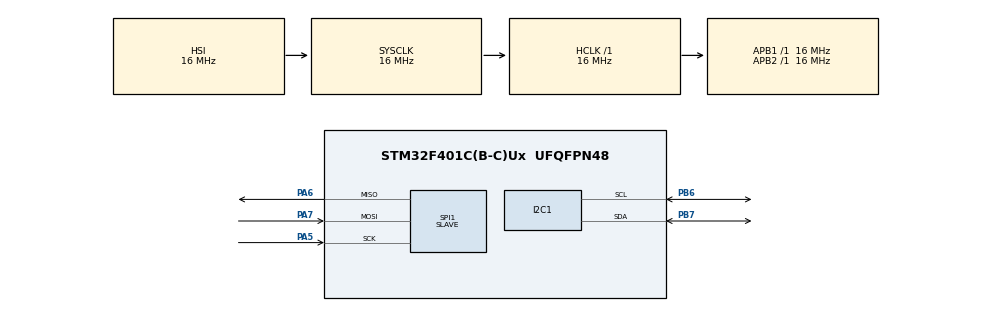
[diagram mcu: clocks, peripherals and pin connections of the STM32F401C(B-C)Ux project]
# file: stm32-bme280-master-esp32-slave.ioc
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Dma.Request0=SPI1_TX
Dma.SPI1_TX.0.Direction=DMA_MEMORY_TO_PERIPH
Dma.SPI1_TX.0.FIFOMode=DMA_FIFOMODE_DISABLE
Dma.SPI1_TX.0.Instance=DMA2_Stream3
Dma.SPI1_TX.0.MemDataAlignment=DMA_MDATAALIGN_BYTE
Dma.SPI1_TX.0.MemInc=DMA_MINC_ENABLE
Dma.SPI1_TX.0.Mode=DMA_CIRCULAR
Dma.SPI1_TX.0.PeriphDataAlignment=DMA_PDATAALIGN_BYTE
Dma.SPI1_TX.0.PeriphInc=DMA_PINC_DISABLE
Dma.SPI1_TX.0.Priority=DMA_PRIORITY_LOW
Mcu.Family=STM32F4
Mcu.Name=STM32F401C(B-C)Ux
Mcu.Package=UFQFPN48
NVIC.DMA2_Stream3_IRQn=true\:0\:0\:false\:false\:true\:false\:true\:true
NVIC.PriorityGroup=NVIC_PRIORITYGROUP_4
PA5.Mode=Full_Duplex_Slave
PA5.Signal=SPI1_SCK
PA6.Mode=Full_Duplex_Slave
PA6.Signal=SPI1_MISO
PA7.Mode=Full_Duplex_Slave
PA7.Signal=SPI1_MOSI
PB6.Mode=I2C
PB6.Signal=I2C1_SCL
PB7.Mode=I2C
PB7.Signal=I2C1_SDA
PH0\ -\ OSC_IN.Mode=HSE-External-Oscillator
PH0\ -\ OSC_IN.Signal=RCC_OSC_IN
PH1\ -\ OSC_OUT.Mode=HSE-External-Oscillator
PH1\ -\ OSC_OUT.Signal=RCC_OSC_OUT
ProjectManager.HeapSize=0x200
ProjectManager.StackSize=0x400
ProjectManager.TargetToolchain=STM32CubeIDE
RCC.AHBFreq_Value=16000000
RCC.APB1Freq_Value=16000000
RCC.APB2Freq_Value=16000000
RCC.CortexFreq_Value=16000000
RCC.HSE_VALUE=25000000
RCC.HSI_VALUE=16000000
RCC.LSE_VALUE=32768
RCC.SYSCLKFreq_VALUE=16000000
RCC.VCOOutputFreq_Value=192000000
SPI1.Direction=SPI_DIRECTION_2LINES
SPI1.Mode=SPI_MODE_SLAVE
SPI1.VirtualType=VM_SLAVE
board=custom

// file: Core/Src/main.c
/* USER CODE BEGIN Header */
/**
  ******************************************************************************
  * @file           : main.c
  * @brief          : Main program body
  ******************************************************************************
  * @attention
  *
  * Copyright (c) 2026 STMicroelectronics.
  * All rights reserved.
  *
  * This software is licensed under terms that can be found in the LICENSE file
  * in the root directory of this software component.
  * If no LICENSE file comes with this software, it is provided AS-IS.
  *
  ******************************************************************************
  */
/* USER CODE END Header */
#include "main.h"

/* USER CODE BEGIN Includes */
#include "bme280.h"
/* USER CODE END Includes */

/* USER CODE BEGIN PTD */
typedef struct __attribute__((packed)) {
    float temperature;
    float pressure;
    float humidity;
} bme280_packet_t;
/* USER CODE END PTD */

I2C_HandleTypeDef hi2c1;

SPI_HandleTypeDef hspi1;
DMA_HandleTypeDef hdma_spi1_tx;

/* USER CODE BEGIN PV */
bme280_packet_t sensor_data;
struct bme280_dev dev;
uint8_t dev_addr = BME280_I2C_ADDR_PRIM;
/* USER CODE END PV */

void SystemClock_Config(void);
static void MX_GPIO_Init(void);
static void MX_DMA_Init(void);
static void MX_I2C1_Init(void);
static void MX_SPI1_Init(void);

/* USER CODE BEGIN 0 */
void bme280_delay_us(uint32_t period, void *intf_ptr) {
    // Convert microseconds to milliseconds for HAL_Delay (minimum 1ms)
    uint32_t ms = period / 1000;
    if (ms == 0) {
        ms = 1;
    }
    HAL_Delay(ms);
}

int8_t bme280_i2c_read(uint8_t reg_addr, uint8_t *data, uint32_t len, void *intf_ptr) {
    uint8_t addr = *(uint8_t*)intf_ptr;
    if (HAL_I2C_Mem_Read(&hi2c1, addr << 1, reg_addr, I2C_MEMADD_SIZE_8BIT, data, len, 100) == HAL_OK) {
        return BME280_OK;
    }
    return BME280_E_COMM_FAIL;
}

int8_t bme280_i2c_write(uint8_t reg_addr, const uint8_t *data, uint32_t len, void *intf_ptr) {
    uint8_t addr = *(uint8_t*)intf_ptr;
    if (HAL_I2C_Mem_Write(&hi2c1, addr << 1, reg_addr, I2C_MEMADD_SIZE_8BIT, (uint8_t*)data, len, 100) == HAL_OK) {
        return BME280_OK;
    }
    return BME280_E_COMM_FAIL;
}
/* USER CODE END 0 */

int main(void)
{

  /* MCU Configuration--------------------------------------------------------*/

  /* Reset of all peripherals, Initializes the Flash interface and the Systick. */
  HAL_Init();

  /* Configure the system clock */
  SystemClock_Config();

  /* Initialize all configured peripherals */
  MX_GPIO_Init();
  MX_DMA_Init();
  MX_I2C1_Init();
  MX_SPI1_Init();
  /* USER CODE BEGIN 2 */
  dev.intf = BME280_I2C_INTF;
  dev.read = bme280_i2c_read;
  dev.write = bme280_i2c_write;
  dev.delay_us = bme280_delay_us;
  dev.intf_ptr = &dev_addr;

  int8_t rslt = bme280_init(&dev);
  if (rslt == BME280_OK) {
    struct bme280_settings settings;

    settings.osr_h = BME280_OVERSAMPLING_1X;
    settings.osr_p = BME280_OVERSAMPLING_16X;
    settings.osr_t = BME280_OVERSAMPLING_2X;
    settings.filter = BME280_FILTER_COEFF_16;

    bme280_set_sensor_settings(BME280_SEL_ALL_SETTINGS, &settings, &dev);
    bme280_set_sensor_mode(BME280_POWERMODE_NORMAL, &dev);
  }

  HAL_SPI_Transmit_DMA(&hspi1, (uint8_t*)&sensor_data, sizeof(sensor_data));
  /* USER CODE END 2 */

  /* Infinite loop */
  while (1)
  {

    /* USER CODE BEGIN 3 */
	struct bme280_data comp_data;
	rslt = bme280_get_sensor_data(BME280_ALL, &comp_data, &dev);
	if (rslt == BME280_OK) {
	  sensor_data.temperature = comp_data.temperature;
	  sensor_data.pressure    = comp_data.pressure / 100.0f;
	  sensor_data.humidity    = comp_data.humidity;
	}

	HAL_Delay(1000);
  }
  /* USER CODE END 3 */
}

void SystemClock_Config(void)
{
  RCC_OscInitTypeDef RCC_OscInitStruct = {0};
  RCC_ClkInitTypeDef RCC_ClkInitStruct = {0};

  /** Configure the main internal regulator output voltage
  */
  __HAL_RCC_PWR_CLK_ENABLE();
  __HAL_PWR_VOLTAGESCALING_CONFIG(PWR_REGULATOR_VOLTAGE_SCALE2);

  /** Initializes the RCC Oscillators according to the specified parameters
  * in the RCC_OscInitTypeDef structure.
  */
  RCC_OscInitStruct.OscillatorType = RCC_OSCILLATORTYPE_HSI;
  RCC_OscInitStruct.HSIState = RCC_HSI_ON;
  RCC_OscInitStruct.HSICalibrationValue = RCC_HSICALIBRATION_DEFAULT;
  RCC_OscInitStruct.PLL.PLLState = RCC_PLL_NONE;
  if (HAL_RCC_OscConfig(&RCC_OscInitStruct) != HAL_OK)
  {
    Error_Handler();
  }

  /** Initializes the CPU, AHB and APB buses clocks
  */
  RCC_ClkInitStruct.ClockType = RCC_CLOCKTYPE_HCLK|RCC_CLOCKTYPE_SYSCLK
                              |RCC_CLOCKTYPE_PCLK1|RCC_CLOCKTYPE_PCLK2;
  RCC_ClkInitStruct.SYSCLKSource = RCC_SYSCLKSOURCE_HSI;
  RCC_ClkInitStruct.AHBCLKDivider = RCC_SYSCLK_DIV1;
  RCC_ClkInitStruct.APB1CLKDivider = RCC_HCLK_DIV1;
  RCC_ClkInitStruct.APB2CLKDivider = RCC_HCLK_DIV1;

  if (HAL_RCC_ClockConfig(&RCC_ClkInitStruct, FLASH_LATENCY_0) != HAL_OK)
  {
    Error_Handler();
  }
}

static void MX_I2C1_Init(void)
{

  hi2c1.Instance = I2C1;
  hi2c1.Init.ClockSpeed = 100000;
  hi2c1.Init.DutyCycle = I2C_DUTYCYCLE_2;
  hi2c1.Init.OwnAddress1 = 0;
  hi2c1.Init.AddressingMode = I2C_ADDRESSINGMODE_7BIT;
  hi2c1.Init.DualAddressMode = I2C_DUALADDRESS_DISABLE;
  hi2c1.Init.OwnAddress2 = 0;
  hi2c1.Init.GeneralCallMode = I2C_GENERALCALL_DISABLE;
  hi2c1.Init.NoStretchMode = I2C_NOSTRETCH_DISABLE;
  if (HAL_I2C_Init(&hi2c1) != HAL_OK)
  {
    Error_Handler();
  }

}

static void MX_SPI1_Init(void)
{

  /* SPI1 parameter configuration*/
  hspi1.Instance = SPI1;
  hspi1.Init.Mode = SPI_MODE_SLAVE;
  hspi1.Init.Direction = SPI_DIRECTION_2LINES;
  hspi1.Init.DataSize = SPI_DATASIZE_8BIT;
  hspi1.Init.CLKPolarity = SPI_POLARITY_LOW;
  hspi1.Init.CLKPhase = SPI_PHASE_1EDGE;
  hspi1.Init.NSS = SPI_NSS_SOFT;
  hspi1.Init.FirstBit = SPI_FIRSTBIT_MSB;
  hspi1.Init.TIMode = SPI_TIMODE_DISABLE;
  hspi1.Init.CRCCalculation = SPI_CRCCALCULATION_DISABLE;
  hspi1.Init.CRCPolynomial = 10;
  if (HAL_SPI_Init(&hspi1) != HAL_OK)
  {
    Error_Handler();
  }

}

static void MX_DMA_Init(void)
{

  /* DMA controller clock enable */
  __HAL_RCC_DMA2_CLK_ENABLE();

  /* DMA interrupt init */
  /* DMA2_Stream3_IRQn interrupt configuration */
  HAL_NVIC_SetPriority(DMA2_Stream3_IRQn, 0, 0);
  HAL_NVIC_EnableIRQ(DMA2_Stream3_IRQn);

}

static void MX_GPIO_Init(void)
{

  /* GPIO Ports Clock Enable */
  __HAL_RCC_GPIOH_CLK_ENABLE();
  __HAL_RCC_GPIOA_CLK_ENABLE();
  __HAL_RCC_GPIOB_CLK_ENABLE();

}

void Error_Handler(void)
{
  __disable_irq();
  while (1)
  {
  }
}
